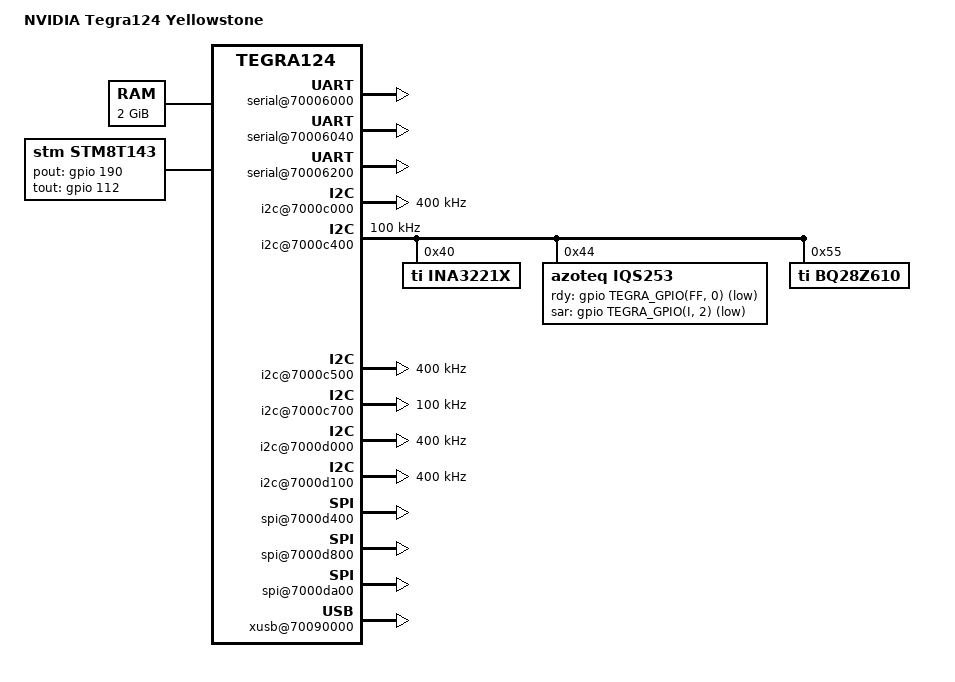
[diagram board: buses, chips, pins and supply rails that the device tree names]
/dts-v1/;

#include "tegra124.dtsi"
#include "tegra124-platforms/tegra124-yellowstone-gpio.dtsi"
#include "tegra124-platforms/tegra124-yellowstone-pinmux.dtsi"
#include "tegra124-platforms/tegra124-yellowstone-keys.dtsi"
#include "tegra124-platforms/tegra124-yellowstone-pmic.dtsi"
#include "tegra124-platforms/tegra124-yellowstone-fixed.dtsi"

/ {
	model = "NVIDIA Tegra124 Yellowstone";
	compatible = "google,yellowstone", "nvidia,tegra124";
	nvidia,dtsfilename = __FILE__;
	#address-cells = <2>;
	#size-cells = <2>;

	chosen {
		bootargs = "tegraid=40.0.0.00.00 vmalloc=256M video=tegrafb console=ttyS0,115200n8 earlyprintk";
		linux,initrd-start = <0x85000000>;
		linux,initrd-end = <0x851bc400>;
	};	

	memory@0x80000000 {
		device_type = "memory";
		reg = <0x0 0x80000000 0x0 0x80000000>;
	};

	serial@70006000 {
		compatible = "nvidia,tegra114-hsuart";
		status = "okay";
	};

	serial@70006040 {
		compatible = "nvidia,tegra114-hsuart";
		status = "okay";
	};

	serial@70006200 {
		compatible = "nvidia,tegra114-hsuart";
		status = "okay";
	};

	i2c@7000c000 {
		status = "okay";
		clock-frequency = <400000>;
	};

	i2c@7000c400 {
		status = "okay";
		clock-frequency = <100000>;

		ina3221x@40 {
			compatible = "ti,ina3221x";
			reg = <0x40>;
			ti,trigger-config = <0x7203>;
			ti,continuous-config = <0x7c07>;
			#address-cells = <1>;
			#size-cells = <0>;
			#io-channel-cells = <1>;

			channel@0 {
				reg = <0x0>;
				ti,rail-name = "VDD_BAT";
				ti,shunt-resistor-mohm = <10>;
			};

			channel@1 {
				reg = <0x1>;
				ti,rail-name = "VDD_SYS_GPU_IN";
				ti,shunt-resistor-mohm = <10>;
			};

			channel@2 {
				reg = <0x2>;
				ti,rail-name = "VDD_SYS_SOC_IN";
				ti,shunt-resistor-mohm = <10>;
			};
		};

		iqs253@44 {
			compatible = "azoteq,iqs253";
			reg = <0x44>;
			vendor = "Azoteq";
			proximity,max-range = "2";
			proximity,integration-time = "16000000";
			proximity,power-consumed = "1.67";
			/* rdy-gpio = <0x7 0xf8 0x1>; */
			rdy-gpio = <&gpio TEGRA_GPIO(FF, 0) GPIO_ACTIVE_LOW>;
			/* sar-gpio = <0x7 0x42 0x1>; */
			sar-gpio = <&gpio TEGRA_GPIO(I, 2) GPIO_ACTIVE_LOW>;
		};

		bq28z610@55 {
			compatible = "ti,bq28z610";
			reg = <0x55>;
			tz-name = "battery-temp";
			alert-threshold = <0x0>;
			one-percent-alerts = <0x1>;
			valert-max = <0x13ec>;
			valert-min = <0x0>;
			vreset-threshold = <0x960>;
			vreset-disable = <0x1>;
			hib-threshold = <0x30>;
			hib-active-threshold = <0x80>;
			bits = <0x12>;
			rcomp = <0x39>;
			rcomp-seg = <0x200>;
			soccheck-a = <0x77>;
			soccheck-b = <0x79>;
			ocvtest = <0xda90>;
			data-tbl = <0x98 0x80 0xb3 0x50 0xb7 0x90 0xb9 0x0 0xba 0x70 0xbc 0x10 0xbc 0x50 0xbc 0xa0 0xbd 0x20 0xbe 0x30 0xbf 0x40 0xc2 0xf0 0xc4 0x20 0xc7 0xe0 0xcb 0xf0 0xd0 0x90 0x0 0x40 0x6 0x70 0xe 0x50 0x12 0x0 0x18 0xd0 0x33 0x10 0x31 0x40 0x35 0xd0 0x18 0xd0 0x19 0x0 0xb 0xf0 0xc 0x10 0xd 0x10 0x7 0x90 0x8 0x0 0x8 0x0>;
		};
	};

	i2c@7000c500 {
		status = "okay";
		clock-frequency = <400000>;
	};

	i2c@7000c700 {
		status = "okay";
		clock-frequency = <100000>;
	};

	i2c@7000d000 {
		status = "okay";
		clock-frequency = <400000>;
		nvidia,bit-banging-xfer-after-shutdown;
	};

	i2c@7000d100 {
		status = "okay";
		clock-frequency = <400000>;
	};

	spi@7000d400 {
		status = "okay";
		spi-max-frequency = <25000000>;
	};

	spi@7000d800 {
		status = "okay";
		spi-max-frequency = <25000000>;
	};

	spi@7000da00 {
		status = "okay";
		spi-max-frequency = <25000000>;
	};

	stm8t143 {
		compatible = "stm,stm8t143";
		pout-gpio = <&gpio 190 0>;
		tout-gpio = <&gpio 112 0>;
	};

	pmc {
		status = "okay";
		nvidia,invert-interrupt;
		nvidia,suspend-mode = <0x0>;
		nvidia,cpu-pwr-good-time = <0x1f4>;
		nvidia,cpu-pwr-off-time = <0x12c>;
		nvidia,core-pwr-good-time = <0xf05 0xf05>;
		nvidia,core-pwr-off-time = <0x7d0>;
		nvidia,core-power-req-active-high;
		nvidia,sys-clock-req-active-high;
	};

	sysedp_batmon_calc {
		compatible = "nvidia,tegra124-sysedp_batmon_calc";
		ocv_lut = <
			100 8372010
			95 8163880
			90 8069280
			85 7970700
			80 7894100
			75 7820860
			70 7751890
			65 7691770
			60 7641110
			55 7598990
			50 7564200
			45 7534290
			40 7511410
			35 7491870
			30 7468380
			25 7435720
			20 7388720
			15 7338370
			10 7219650
			0 5999850
		>;
		ibat_lut = <
			600 9750
			(-300) 9750
			0 0
		>;
		rbat_data = <
			100000 120000 140000 170000 190000 210000
			100000 120000 150000 170000 190000 210000
			100000 130000 150000 170000 200000 210000
			110000 130000 160000 170000 200000 210000
			120000 140000 170000 180000 210000 220000
		>;
		temp_axis = <450 230 100 50 0 (-200)>;
		capacity_axis = <100 55 50 10 0>;
		power_supply = "battery";
		r_const = <70000>;
		vsys_min = <5880000>;
	};

	xusb@70090000 {
		/* nvidia,uses_external_pmic;
		nvidia,gpio_controls_muxed_ss_lanes; */
		nvidia,gpio_ss1_sata = <0x0>;
		nvidia,portmap = <0x703>; /* SSP0, SSP1 USB2P0, USB2P1, USBP2 */
		nvidia,ss_portmap = <0x10>;
		nvidia,lane_owner = <0x6>; /* USB3P0 USB3P1 */
		nvidia,ulpicap = <0x0>; /* No ulpi support. can we remove */
		nvidia,supply_utmi_vbuses = "usb_vbus0", "usb_vbus1", "usb_vbus2";
		nvidia,supply_s3p3v = "hvdd_usb";
		nvidia,supply_s1p8v = "avdd_pll_utmip";
		nvidia,supply_vddio_hsic = "vddio_hsic";
		nvidia,supply_s1p05v = "avddio_usb";
		/* hsic config values in order defined in structure */
		nvidia,hsic0 = /bits/8 <0x1 0x1 0x8 0xa 0 0 1 0x22 0>;
		status = "okay";
	};
};
